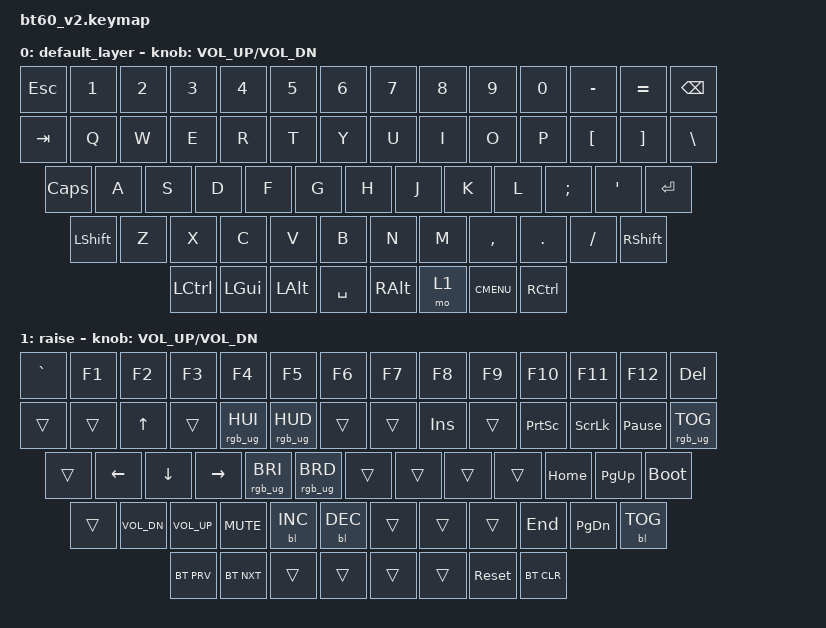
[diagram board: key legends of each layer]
#include <behaviors.dtsi>
#include <dt-bindings/zmk/keys.h>
#include <dt-bindings/zmk/bt.h>
#include <dt-bindings/zmk/rgb.h>
#include <dt-bindings/zmk/backlight.h>

#define ANSI

/ {
  chosen {
  #ifdef ANSI
    zmk,physical-layout = &layout_60_ansi;
  #else
  #error "Layout not defined, please define a layout by uncommenting the appropriate line in bt60_v2.keymap"
  #endif
  };

  keymap {
    compatible = "zmk,keymap";
    #ifdef ANSI
    default_layer {
        // ------------------------------------------------------------------------------------------
        // | ESC |  1  |  2  |  3  |  4  |  5  |  6  |  7  |  8  |  9  |  0  |  -  |  =  |   BSPC   |
        // | TAB  |  Q  |  W  |  E  |  R  |  T  |  Y  |  U  |  I  |  O  |  P  |  [  |  ]  |   \     |
        // | CAPS  |  A  |  S  |  D  |  F  |  G  |  H  |  J  |  K  |  L  |  ;  |  '  |     ENTER    |
        // |  SHIFT    |  Z  |  X  |  C  |  V  |  B  |  N  |  M  |  ,  |  .  | /   |      SHIFT     |
        // |  CTL  |  WIN  |  ALT  |            SPACE               | ALT |   1  |  MENU   |  CTRL  |
        // ------------------------------------------------------------------------------------------
      bindings = <

        &kp ESC &kp N1 &kp N2 &kp N3 &kp N4 &kp N5 &kp N6 &kp N7 &kp  N8   &kp  N9 &kp  N0  &kp MINUS &kp EQUAL &kp BSPC
        &kp TAB  &kp Q  &kp W  &kp E  &kp R  &kp T  &kp Y  &kp U  &kp  I    &kp  O  &kp  P   &kp LBKT &kp RBKT   &kp BSLH
        &kp CAPS  &kp A  &kp S  &kp D  &kp F  &kp G  &kp H  &kp J  &kp  K    &kp  L  &kp SEMI &kp SQT            &kp RET
        &kp LSHFT  &kp Z  &kp X  &kp C  &kp V  &kp B  &kp N  &kp M  &kp COMMA &kp DOT &kp FSLH                &kp RSHFT
        &kp LCTRL &kp LGUI &kp LALT            &kp SPACE                          &kp RALT  &mo 1 &kp K_CMENU    &kp RCTRL
      >;
      sensor-bindings = <&inc_dec_kp C_VOL_UP C_VOL_DN>;
    };
    raise {
        // ------------------------------------------------------------------------------------------
        // |GRAVE| F1  | F2  | F3  | F4  | F5  | F6  | F7  | F8  | F9  | F10 | F11 | F12 |    DEL   |
        // | TAB  |  Q  | UP  |  E  | HUI | HUD |  Y  |  U  | INS |  O  |PSCRN| SLCK| P_B |  RGB_TOG|
        // | CAPS  | LEFT| DOWN|RIGHT| BRI | BRD |  H  |  J  |  K  |  L  | HOME| PGUP|     BOOT     |
        // |  SHIFT   |VOLDN|VOLUP| MUTE|BLINC|BLDEC|  N  |  M  |  ,  | END | PGDN |      BL_TOG    |
        // | BT_PRV| BT_NXT|  ALT  |            SPACE               | ALT |   1  |  RESET  | BT_CLR |
        // ------------------------------------------------------------------------------------------
      bindings = <
        &kp GRAVE &kp F1 &kp F2 &kp F3 &kp F4 &kp F5 &kp F6 &kp F7 &kp F8 &kp F9 &kp F10 &kp F11 &kp F12 &kp DEL
        &trans &trans &kp UP &trans &rgb_ug RGB_HUI &rgb_ug RGB_HUD &trans &trans &kp INS &trans &kp PSCRN &kp SLCK &kp PAUSE_BREAK &rgb_ug RGB_TOG
        &trans    &kp LEFT &kp DOWN &kp RIGHT &rgb_ug RGB_BRI &rgb_ug RGB_BRD &trans &trans &trans &trans &kp HOME  &kp PG_UP   &bootloader
        &trans   &kp C_VOL_DN &kp C_VOL_UP &kp C_MUTE &bl BL_INC &bl BL_DEC &trans &trans &trans &kp END &kp PG_DN  &bl BL_TOG
        &bt BT_PRV &bt BT_NXT  &trans              &trans                            &trans   &trans   &sys_reset &bt BT_CLR
      >;
      sensor-bindings = <&inc_dec_kp C_VOL_UP C_VOL_DN>;
    };
    #else
    #error "Layout not defined, please define a layout by uncommenting the appropriate line in bt60_v2.keymap"
    #endif

  };
};
